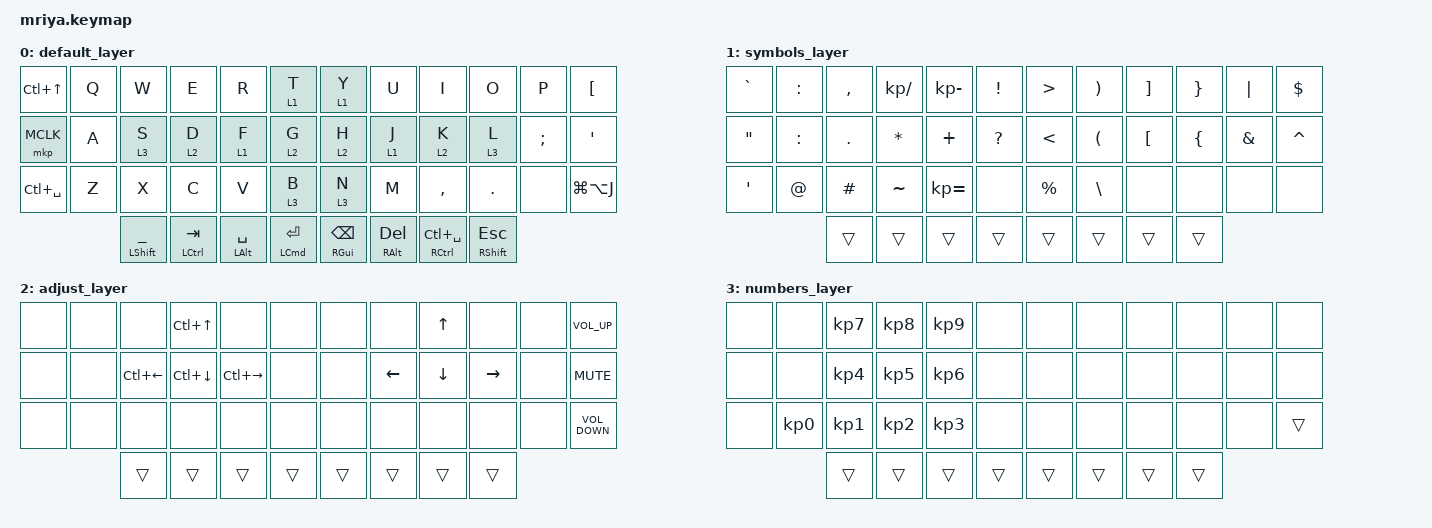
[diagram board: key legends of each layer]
/*
 * Copyright (c) 2023 Andrei Gaevskii
 *
 * SPDX-License-Identifier: MIT
 */

#include <behaviors.dtsi>
#include <dt-bindings/zmk/keys.h>
#include <dt-bindings/zmk/mouse.h>

#define DEF 0
#define LWR 1
#define RSE 2
#define ADJ 3

&lt { quick_tap_ms = <200>; };

&mt { quick_tap_ms = <200>; };

/ {
    keymap {
        compatible = "zmk,keymap";

        default_layer {
            bindings = <
  &kp LC(UP_ARROW)  &kp Q  &kp W                      &kp E          &kp R               &lt 1 T         &lt 1 Y                  &kp U                 &kp I                        &kp O                   &kp P     &kp LBKT
  &mkp MCLK         &kp A  &lt 3 S                    &lt 2 D        &lt 1 F             &lt 2 G         &lt 2 H                  &lt 1 J               &lt 2 K                      &lt 3 L                 &kp SEMI  &kp SQT
  &kp LC(SPACE)     &kp Z  &kp X                      &kp C          &kp V               &lt 3 B         &lt 3 N                  &kp M                 &kp COMMA                    &kp DOT                 &none     &kp LG(LA(J))
                           &mt LEFT_SHIFT UNDERSCORE  &mt LCTRL TAB  &mt LEFT_ALT SPACE  &mt LCMD RET    &mt RIGHT_GUI BACKSPACE  &mt RIGHT_ALT DELETE  &mt RIGHT_CONTROL LC(SPACE)  &mt RIGHT_SHIFT ESCAPE
            >;
        };

        symbols_layer {
            bindings = <
  &kp GRAVE         &kp COLON    &kp COMMA  &kp KP_SLASH  &kp KP_MINUS  &kp EXCLAMATION    &kp GREATER_THAN  &kp RIGHT_PARENTHESIS  &kp RIGHT_BRACKET  &kp RIGHT_BRACE  &kp PIPE       &kp DOLLAR
  &kp DQT           &kp COLON    &kp DOT    &kp ASTERISK  &kp PLUS      &kp QUESTION       &kp LESS_THAN     &kp LEFT_PARENTHESIS   &kp LEFT_BRACKET   &kp LEFT_BRACE   &kp AMPERSAND  &kp CARET
  &kp SINGLE_QUOTE  &kp AT_SIGN  &kp HASH   &kp TILDE     &kp KP_EQUAL  &none              &kp PERCENT       &kp BACKSLASH          &none              &none            &none          &none
                                 &trans     &trans        &trans        &trans             &trans            &trans                 &trans             &trans
            >;
        };

        adjust_layer {
            bindings = <
  &none  &none  &none               &kp LC(UP_ARROW)    &none                &none     &none   &none     &kp UP    &none      &none  &kp C_VOLUME_UP
  &none  &none  &kp LC(LEFT_ARROW)  &kp LC(DOWN_ARROW)  &kp LC(RIGHT_ARROW)  &none     &none   &kp LEFT  &kp DOWN  &kp RIGHT  &none  &kp K_MUTE
  &none  &none  &none               &none               &none                &none     &none   &none     &none     &none      &none  &kp C_VOLUME_DOWN
                &trans              &trans              &trans               &trans    &trans  &trans    &trans    &trans
            >;
        };

        numbers_layer {
            bindings = <
  &none  &none            &kp KP_NUMBER_7  &kp KP_NUMBER_8  &kp KP_NUMBER_9  &none     &none   &none   &none   &none   &none  &none
  &none  &none            &kp KP_NUMBER_4  &kp KP_NUMBER_5  &kp KP_NUMBER_6  &none     &none   &none   &none   &none   &none  &none
  &none  &kp KP_NUMBER_0  &kp KP_NUMBER_1  &kp KP_NUMBER_2  &kp KP_NUMBER_3  &none     &none   &none   &none   &none   &none  &trans
                          &trans           &trans           &trans           &trans    &trans  &trans  &trans  &trans
            >;
        };
    };
};
